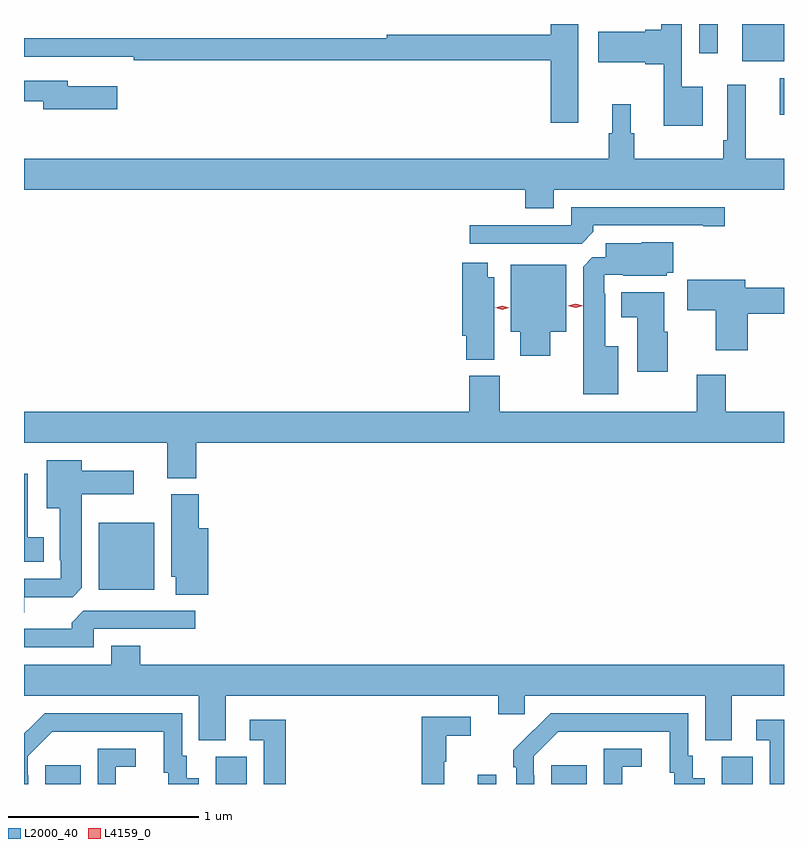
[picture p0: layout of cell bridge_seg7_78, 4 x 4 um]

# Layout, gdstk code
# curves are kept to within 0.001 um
import gdstk
lib = gdstk.Library(unit=1e-6, precision=1e-09)
def R(c, l, rs):  # rectangles x0, y0, x1, y1
    for r in rs: c.add(gdstk.rectangle(r[:2], r[2:], *l))
def P(c, l, *ps):  # polygons
    for p in ps: c.add(gdstk.Polygon(p, *l))
L2000_40 = (2000, 40)
L4159_0 = (4159, 0)

bridge_seg7_78 = lib.new_cell('bridge_seg7_78')
R(bridge_seg7_78, L2000_40, [(1054.685,1002.816,1054.873,1002.916), (1055.582,1002.816,1055.746,1002.96), (1056.963,1002.816,1057.059,1002.865), (1057.349,1002.816,1057.537,1002.916), (1058.246,1002.816,1058.41,1002.96), (1054.967,1003.838,1055.26,1004.191), (1058.552,1006.338,1058.574,1006.53), (1058.354,1006.619,1058.574,1006.816), (1058.127,1006.662,1058.224,1006.816)])
P(bridge_seg7_78, L2000_40, [(1057.492,1006.816),(1057.346,1006.816),(1057.346,1006.76),(1056.484,1006.76),(1056.484,1006.74),(1054.574,1006.74),(1054.574,1006.644),(1054.9,1006.644),(1054.9,1006.643),(1055.152,1006.643),(1055.152,1006.624),(1057.346,1006.624),(1057.346,1006.296),(1057.492,1006.296)],
  [(1058.146,1006.486),(1058.037,1006.486),(1058.037,1006.816),(1057.929,1006.816),(1057.929,1006.787),(1057.844,1006.787),(1057.844,1006.774),(1057.596,1006.774),(1057.596,1006.616),(1057.844,1006.616),(1057.844,1006.604),(1057.94,1006.604),(1057.94,1006.28),(1058.146,1006.28)],
  [(1055.065,1006.489),(1054.804,1006.489),(1054.804,1006.518),(1054.574,1006.518),(1054.574,1006.41),(1054.676,1006.41),(1054.676,1006.367),(1055.065,1006.367)],
  [(1057.363,1005.944),(1058.574,1005.944),(1058.574,1006.108),(1058.372,1006.108),(1058.372,1006.495),(1058.274,1006.495),(1058.274,1006.204),(1058.254,1006.204),(1058.254,1006.108),(1057.787,1006.108),(1057.787,1006.242),(1057.768,1006.242),(1057.768,1006.393),(1057.67,1006.393),(1057.67,1006.242),(1057.651,1006.242),(1057.651,1006.108),(1054.574,1006.108),(1054.574,1005.944),(1057.211,1005.944),(1057.211,1005.845),(1057.363,1005.845)],
  [(1057.571,1005.722),(1057.571,1005.756),(1058.15,1005.756),(1058.15,1005.751),(1058.263,1005.751),(1058.263,1005.852),(1057.455,1005.852),(1057.455,1005.756),(1056.921,1005.756),(1056.921,1005.66),(1057.509,1005.66)],
  [(1057.702,1005.121),(1057.633,1005.121),(1057.633,1005.395),(1057.629,1005.395),(1057.629,1005.495),(1057.729,1005.495),(1057.729,1005.491),(1057.956,1005.491),(1057.956,1005.507),(1057.991,1005.507),(1057.991,1005.667),(1057.824,1005.667),(1057.824,1005.661),(1057.637,1005.661),(1057.637,1005.588),(1057.566,1005.588),(1057.517,1005.539),(1057.517,1004.867),(1057.702,1004.867)],
  [(1057.048,1005.484),(1057.015,1005.484),(1057.015,1005.559),(1056.881,1005.559),(1056.881,1005.174),(1056.902,1005.174),(1056.902,1005.049),(1057.048,1005.049)],
  [(1057.345,1005.197),(1057.429,1005.197),(1057.429,1005.55),(1057.136,1005.55),(1057.136,1005.197),(1057.187,1005.197),(1057.187,1005.069),(1057.345,1005.069)],
  [(1058.384,1005.292),(1058.574,1005.292),(1058.574,1005.428),(1058.371,1005.428),(1058.371,1005.471),(1058.064,1005.471),(1058.064,1005.31),(1058.216,1005.31),(1058.216,1005.099),(1058.384,1005.099)],
  [(1057.963,1005.195),(1057.945,1005.195),(1057.945,1005.403),(1057.718,1005.403),(1057.718,1005.272),(1057.802,1005.272),(1057.802,1004.985),(1057.963,1004.985)],
  [(1055.48,1004.612),(1058.574,1004.612),(1058.574,1004.776),(1058.267,1004.776),(1058.267,1004.971),(1058.114,1004.971),(1058.114,1004.776),(1057.077,1004.776),(1057.077,1004.964),(1056.917,1004.964),(1056.917,1004.776),(1054.574,1004.776),(1054.574,1004.612),(1055.327,1004.612),(1055.327,1004.425),(1055.48,1004.425)],
  [(1054.576,1003.8),(1054.83,1003.8),(1054.879,1003.849),(1054.879,1004.342),(1055.152,1004.342),(1055.152,1004.464),(1054.879,1004.464),(1054.879,1004.521),(1054.694,1004.521),(1054.694,1004.267),(1054.763,1004.267),(1054.763,1003.993),(1054.767,1003.993),(1054.767,1003.896),(1054.574,1003.896),(1054.574,1003.717),(1054.576,1003.717)],
  [(1054.678,1004.116),(1054.594,1004.116),(1054.594,1004.449),(1054.574,1004.449),(1054.574,1003.985),(1054.678,1003.985)],
  [(1055.543,1004.161),(1055.495,1004.161),(1055.495,1004.34),(1055.348,1004.34),(1055.348,1003.908),(1055.372,1003.908),(1055.372,1003.813),(1055.543,1003.813)],
  [(1054.941,1003.632),(1055.476,1003.632),(1055.476,1003.728),(1054.887,1003.728),(1054.826,1003.666),(1054.826,1003.632),(1054.574,1003.632),(1054.574,1003.536),(1054.941,1003.536)],
  [(1055.635,1003.28),(1057.07,1003.28),(1057.07,1003.182),(1057.209,1003.182),(1057.209,1003.28),(1058.159,1003.28),(1058.159,1003.045),(1058.299,1003.045),(1058.299,1003.28),(1058.574,1003.28),(1058.574,1003.444),(1055.186,1003.444),(1055.186,1003.543),(1055.033,1003.543),(1055.033,1003.444),(1054.574,1003.444),(1054.574,1003.28),(1055.495,1003.28),(1055.495,1003.045),(1055.635,1003.045)],
  [(1057.26,1002.863),(1057.257,1002.863),(1057.257,1002.963),(1057.386,1003.092),(1057.973,1003.092),(1057.973,1002.876),(1057.997,1002.876),(1057.997,1002.816),(1058.158,1002.816),(1058.158,1002.847),(1058.095,1002.847),(1058.095,1002.966),(1058.07,1002.966),(1058.07,1003.188),(1057.346,1003.188),(1057.149,1002.993),(1057.149,1002.905),(1057.164,1002.905),(1057.164,1002.816),(1057.26,1002.816)],
  [(1054.596,1002.863),(1054.593,1002.863),(1054.593,1002.963),(1054.722,1003.092),(1055.309,1003.092),(1055.309,1002.876),(1055.333,1002.876),(1055.333,1002.816),(1055.494,1002.816),(1055.494,1002.847),(1055.431,1002.847),(1055.431,1002.966),(1055.406,1002.966),(1055.406,1003.188),(1054.682,1003.188),(1054.591,1003.097),(1054.59,1003.098),(1054.574,1003.082),(1054.574,1002.816),(1054.596,1002.816)],
  [(1056.785,1002.933),(1056.796,1002.933),(1056.796,1003.069),(1056.925,1003.069),(1056.925,1003.17),(1056.667,1003.17),(1056.667,1002.816),(1056.785,1002.816)],
  [(1058.574,1003.153),(1058.427,1003.153),(1058.427,1003.047),(1058.499,1003.047),(1058.499,1002.816),(1058.574,1002.816)],
  [(1055.951,1003.153),(1055.763,1003.153),(1055.763,1003.047),(1055.835,1003.047),(1055.835,1002.816),(1055.951,1002.816)],
  [(1057.722,1002.906),(1057.825,1002.906),(1057.825,1003.002),(1057.626,1003.002),(1057.626,1002.816),(1057.722,1002.816)],
  [(1055.058,1002.906),(1055.161,1002.906),(1055.161,1003.002),(1054.962,1003.002),(1054.962,1002.816),(1055.058,1002.816)])
P(bridge_seg7_78, L4159_0, [(1057.477,1005.323),(1057.436,1005.333),(1057.436,1005.333),(1057.436,1005.333),(1057.477,1005.343),(1057.518,1005.333),(1057.518,1005.333),(1057.518,1005.333)],
  [(1057.091,1005.312),(1057.054,1005.322),(1057.053,1005.322),(1057.054,1005.323),(1057.091,1005.332),(1057.128,1005.323),(1057.129,1005.322),(1057.128,1005.322)])

lib.write_gds('bridge_seg7_78.gds')
